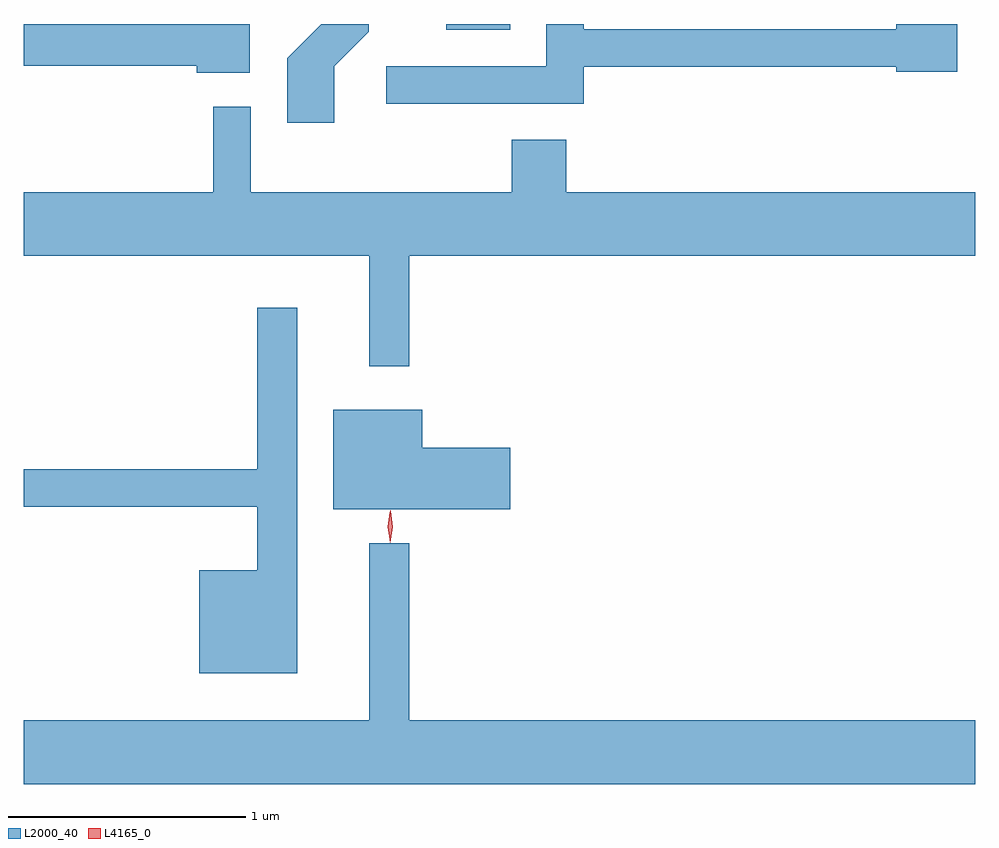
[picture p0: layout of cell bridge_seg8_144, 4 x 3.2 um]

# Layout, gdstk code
import gdstk
lib = gdstk.Library(unit=1e-6, precision=1e-09)
def R(c, l, rs):  # rectangles x0, y0, x1, y1
    for r in rs: c.add(gdstk.rectangle(r[:2], r[2:], *l))
def P(c, l, *ps):  # polygons
    for p in ps: c.add(gdstk.Polygon(p, *l))
L2000_40 = (2000, 40)
L4165_0 = (4165, 0)

bridge_seg8_144 = lib.new_cell('bridge_seg8_144')
R(bridge_seg8_144, L2000_40, [(1775.886,1815.166,1776.154,1815.191)])
P(bridge_seg8_144, L2000_40, [(1776.464,1815.011),(1777.776,1815.011),(1777.776,1814.991),(1778.034,1814.991),(1778.034,1815.189),(1777.776,1815.189),(1777.776,1815.169),(1776.464,1815.169),(1776.464,1815.191),(1776.306,1815.191),(1776.306,1815.014),(1775.633,1815.014),(1775.633,1814.856),(1776.464,1814.856)],
  [(1775.414,1815.014),(1775.559,1815.159),(1775.559,1815.191),(1775.36,1815.191),(1775.216,1815.047),(1775.216,1814.776),(1775.414,1814.776)],
  [(1775.059,1815.191),(1774.109,1815.191),(1774.109,1815.016),(1774.836,1815.016),(1774.836,1814.986),(1775.059,1814.986)],
  [(1775.729,1814.216),(1778.109,1814.216),(1778.109,1814.484),(1776.389,1814.484),(1776.389,1814.704),(1776.161,1814.704),(1776.161,1814.484),(1775.064,1814.484),(1775.064,1814.843),(1774.906,1814.843),(1774.906,1814.484),(1774.109,1814.484),(1774.109,1814.216),(1775.561,1814.216),(1775.561,1813.753),(1775.729,1813.753)],
  [(1775.259,1813.998),(1775.091,1813.998),(1775.091,1813.319),(1774.109,1813.319),(1774.109,1813.161),(1775.091,1813.161),(1775.091,1812.894),(1774.846,1812.894),(1774.846,1812.461),(1775.259,1812.461)],
  [(1776.154,1813.409),(1775.784,1813.409),(1775.784,1813.569),(1775.411,1813.569),(1775.411,1813.151),(1776.154,1813.151)],
  [(1778.109,1812.264),(1775.729,1812.264),(1775.729,1813.008),(1775.561,1813.008),(1775.561,1812.264),(1774.109,1812.264),(1774.109,1811.996),(1778.109,1811.996)])
P(bridge_seg8_144, L4165_0, [(1775.649,1813.013),(1775.649,1813.013),(1775.639,1813.076),(1775.648,1813.139),(1775.649,1813.14),(1775.649,1813.139),(1775.659,1813.076),(1775.65,1813.013)],
  [(1775.649,1813.01),(1775.649,1813.01),(1775.64,1813.078),(1775.65,1813.145),(1775.651,1813.146),(1775.651,1813.145),(1775.66,1813.078),(1775.65,1813.01)])

lib.write_gds('bridge_seg8_144.gds')
